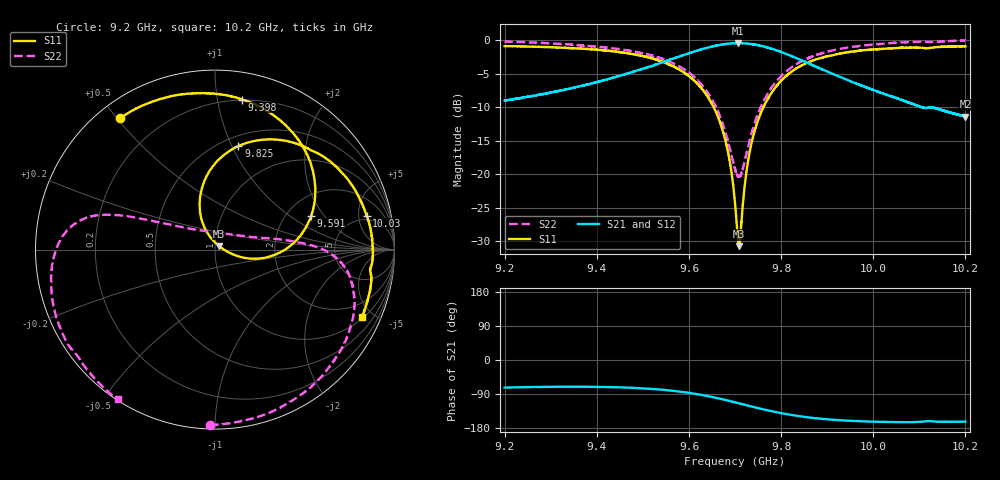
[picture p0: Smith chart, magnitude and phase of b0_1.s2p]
!Agilent Technologies,N5242A,MY51221714,A.09.90.19
!Agilent N5242A: A.09.90.19
!Date: Saturday, March 16, 2024 09:22:22
!Correction: S11(Full 2 Port(1,2))
!S21(Full 2 Port(1,2))
!S12(Full 2 Port(1,2))
!S22(Full 2 Port(1,2))
!S2P File: Measurements: S11, S21, S12, S22:
# Hz S  dB  R 50
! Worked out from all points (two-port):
!   16001 points, 9.2 GHz to 10.2 GHz, reference 50 ohm
!   highest |S21| = -0.43 dB at 9.706 GHz (marker M1); lowest = -11.4 dB at 10.2 GHz (marker M2)
!   |S21| within 3 dB of the highest: 9.5369 GHz to 9.536955 GHz (55.37 kHz wide, 0.000581 % of centre); 9.537 GHz to 9.859 GHz (321.8 MHz wide, 3.32 % of centre)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
!   lowest |S11| = -30.8 dB at 9.708 GHz (marker M3), VSWR 1.06, Z = 52.1 + j2.12 ohm
!   |S11| at or under -10 dB: 9.654 GHz to 9.762 GHz (108.1 MHz wide, 1.11 % of centre)
!   |S22| runs from -20.5 to 0.0 dB; largest |S21 - S12| = 0.012
!   S11 on the Smith chart (normalised r, x): 9.2 GHz: 0.06, +0.51; 9.398 GHz: 0.20, +1.18; 9.591 GHz: 2.70, +1.50; 9.825 GHz: 0.60, +1.06; 10.03 GHz: 4.16, +6.34; 10.2 GHz: 1.08, -4.30
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9.2e9  -0.90 125.9  -9.02 -72.8  -9.02 -73.4  -0.19 -91.6
9.27775e9  -1.00 108.5  -8.12 -71.1  -8.10 -71.6  -0.39 -70.1
9.366688e9  -1.27 87.6  -6.84 -70.5  -6.83 -71.1  -0.78 -46.5
9.397562e9  -1.42 79.8  -6.31 -70.7  -6.29 -71.4  -0.94 -38.6
9.463938e9  -1.93 61.7  -5.04 -72.8  -5.04 -73.3  -1.50 -23.0
9.533375e9  -3.00 40.2  -3.52 -77.6  -3.51 -78.1  -2.57 -9.0
9.591e9  -4.91 19.4  -2.16 -85.1  -2.15 -85.7  -4.41 0.1
9.664062e9  -11.65 -10.6  -0.74 -101.2  -0.73 -101.8  -10.80 12.6
9.686188e9  -17.19 -15.9  -0.52 -107.5  -0.50 -108.1  -15.51 26.9
9.7e9  -24.28 -6.2  -0.44 -111.6  -0.43 -112.3  -19.27 53.3
9.705938e9  -29.26 21.1  -0.43 -113.5  -0.42 -114.0  -20.28 72.9
9.708375e9  -30.78 44.8  -0.45 -114.3  -0.42 -114.8  -20.39 82.2
9.727625e9  -18.37 115.5  -0.52 -120.2  -0.50 -120.8  -16.14 134.3
9.74675e9  -12.63 111.0  -0.71 -126.0  -0.69 -126.6  -11.52 149.5
9.779875e9  -7.80 97.0  -1.29 -135.1  -1.28 -135.8  -7.03 157.2
9.825188e9  -4.57 77.3  -2.44 -145.5  -2.45 -146.2  -3.94 162.3
9.866688e9  -3.10 61.2  -3.69 -152.5  -3.67 -153.1  -2.47 166.9
9.950375e9  -1.73 34.0  -6.12 -160.5  -6.13 -161.0  -1.05 -179.7
1.003025e10  -1.25 12.6  -8.18 -163.4  -8.18 -164.0  -0.47 -163.4
1.003338e10  -1.25 11.9  -8.27 -163.5  -8.25 -164.1  -0.46 -162.6
1.010556e10  -1.13 -5.4  -10.00 -162.8  -10.00 -163.4  -0.22 -146.6
1.02e10  -0.92 -24.7  -11.41 -162.7  -11.39 -163.3  -0.05 -123.1
